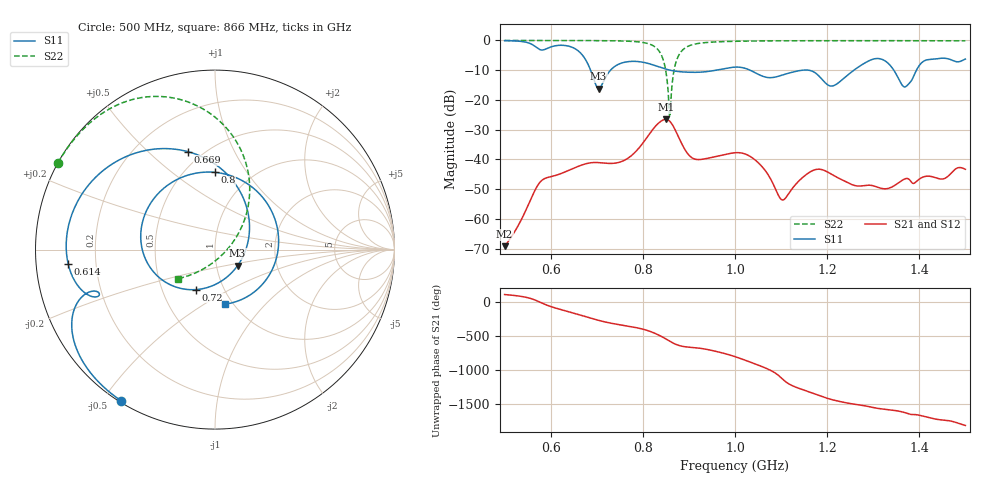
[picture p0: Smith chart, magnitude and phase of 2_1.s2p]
! TOUCHSTONE file generated by CST MICROWAVE STUDIO
! Date and time: Sat Nov 14 20:31:33 2020
! Project name: Scenario_1_Planar_Body_Tissue_Out_of_Line_v2.cst
! Parameters = {dy1=328.7; L_HA=400; Ltissue=700; MT=2.54; Rad_Dielectric=30; Rad_Lower=7.3; Rad_Upper=30; Wtissue=700; a_HA=580; a_WG=246; b_HA=500; b_WG=121; c_HA=0; c_WG=187; d_feed=85; dx1=173; h_feed=15; h_lower=18; h_upper=40; hfat=3; hgap=25; hmuscle=50; hskin=1.5}
! Header version: 2018
! Port assignment regex: !\s*Touchstone port\s*([0-9]+)\s*=\s*(CST MWS port|CST DS port)\s*([0-9]+|Zmin|Zmax)\s*\(\"(.*)\"\)(\s*mode\s*([0-9]+))?.*
! Touchstone port assignment:
! Touchstone port 1 = CST MWS port 1 ("")
! Touchstone port 2 = CST MWS port 2 ("")
# GHz S DB R 50
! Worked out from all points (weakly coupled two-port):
!   1003 points, 500 MHz to 1.5 GHz, reference 50 ohm
!   highest |S21| = -26.54 dB at 850 MHz (marker M1); lowest = -69.1 dB at 500 MHz (marker M2)
!   lowest |S11| = -16.2 dB at 704 MHz (marker M3), VSWR 1.36, Z = 63.2 - j11.5 ohm
!   |S11| at or under -10 dB: 859.1 MHz to 959 MHz (99.94 MHz wide, 11 % of centre); 1.033 GHz to 1.147 GHz (114 MHz wide, 10.5 % of centre); 1.16 GHz to 1.258 GHz (98.36 MHz wide, 8.14 % of centre)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
!   |S22| runs from -25.7 to 0.0 dB; largest |S21 - S12| = 4.3e-06
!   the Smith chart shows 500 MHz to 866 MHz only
!   S11 on the Smith chart (normalised r, x): 500 MHz: 0.01, -0.56; 614 MHz: 0.10, -0.05; 669 MHz: 0.42, +0.67; 720 MHz: 0.74, -0.35; 800 MHz: 0.69, +0.72; 866 MHz: 0.92, -0.62
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0.5  -0.07 -121.8  -69.14 106.3  -69.14 106.3  -0.01 151.2
0.614  -1.70 -174.6  -45.20 -98.2  -45.20 -98.2  -0.02 143.0
0.667  -4.59 109.5  -41.90 160.3  -41.90 160.3  -0.04 138.4
0.669  -4.96 105.3  -41.79 156.4  -41.79 156.4  -0.04 138.2
0.704  -16.24 -35.2  -41.06 88.1  -41.06 88.1  -0.07 134.4
0.72  -12.14 -115.6  -41.27 61.8  -41.27 61.8  -0.09 132.3
0.758  -7.42 165.6  -40.42 14.2  -40.42 14.2  -0.20 125.9
0.8  -7.32 90.2  -34.50 -40.7  -34.50 -40.7  -0.68 112.7
0.834  -8.85 11.6  -27.80 -126.3  -27.80 -126.3  -3.32 84.8
0.85  -9.64 -32.5  -26.54 175.9  -26.54 176.0  -10.36 52.5
0.858  -9.96 -56.0  -27.10 143.9  -27.10 143.9  -25.71 -25.5
0.866  -10.21 -80.0  -28.82 114.0  -28.82 114.0  -11.56 -142.1
0.937  -10.51 93.1  -39.72 25.1  -39.72 25.1  -0.70 152.2
1  -8.97 -23.7  -37.74 -83.2  -37.74 -83.2  -0.29 140.3
1.06  -12.03 -157.1  -42.65 127.2  -42.65 127.2  -0.16 133.5
1.103  -11.62 83.7  -53.64 -50.9  -53.64 -50.9  -0.12 129.5
1.167  -10.29 -54.4  -43.85 105.3  -43.85 105.3  -0.10 124.3
1.203  -15.09 -172.1  -44.40 20.3  -44.40 20.3  -0.09 121.5
1.262  -9.56 60.3  -48.83 -62.8  -48.83 -62.8  -0.08 117.0
1.334  -7.93 -31.3  -49.66 -140.4  -49.66 -140.4  -0.08 111.6
1.369  -15.61 -16.0  -46.52 175.6  -46.52 175.6  -0.09 108.9
1.5  -6.26 -40.1  -43.31 -11.5  -43.31 -11.5  -0.13 98.0
